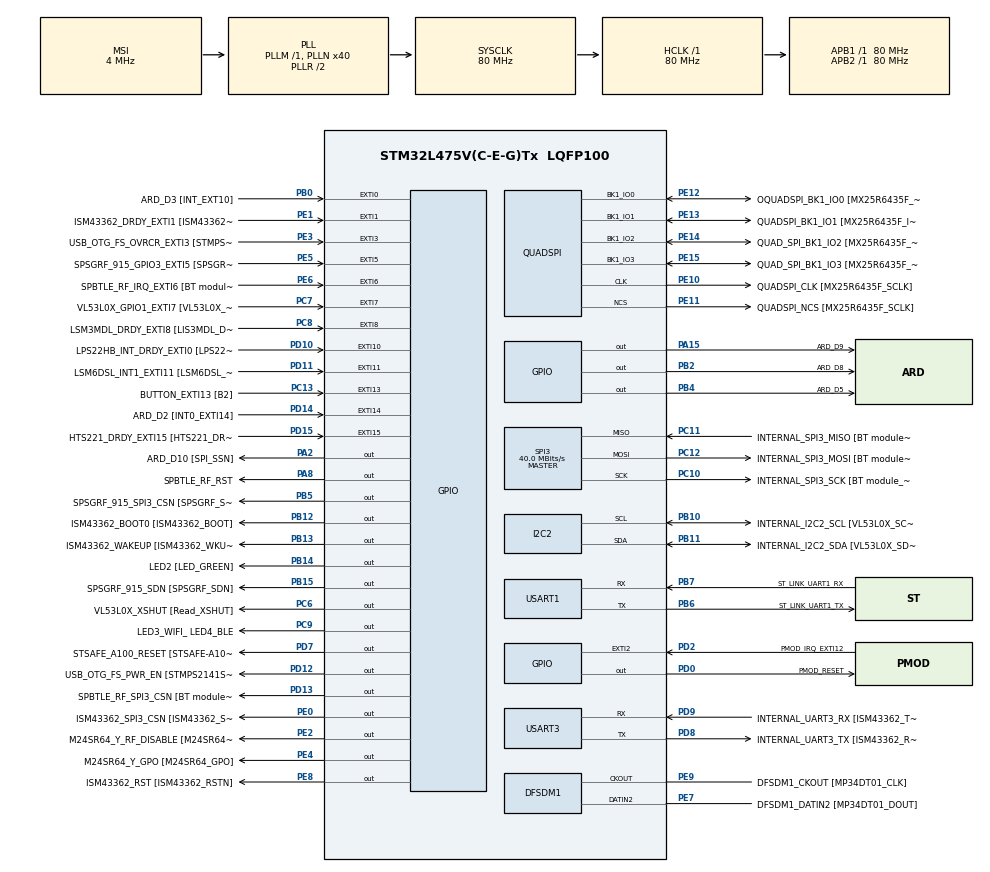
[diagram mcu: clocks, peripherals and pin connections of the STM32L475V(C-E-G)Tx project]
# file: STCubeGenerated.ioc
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Mcu.Family=STM32L4
Mcu.Name=STM32L475V(C-E-G)Tx
Mcu.Package=LQFP100
NVIC.EXTI15_10_IRQn=true\:0\:0\:false\:false\:true\:true\:true\:true
NVIC.EXTI9_5_IRQn=true\:0\:0\:false\:false\:true\:true\:true\:true
NVIC.PriorityGroup=NVIC_PRIORITYGROUP_4
PA0.GPIO_Label=ARD_D1 [UART4_TX]
PA0.Signal=UART4_TX
PA1.GPIO_Label=ARD_D0 [UART4_RX]
PA1.Signal=UART4_RX
PA10.GPIO_Label=USB_OTG_FS_ID
PA10.Signal=USB_OTG_FS_ID
PA11.GPIO_Label=USB_OTG_FS_DM
PA11.Signal=USB_OTG_FS_DM
PA12.GPIO_Label=USB_OTG_FS_DP
PA12.Signal=USB_OTG_FS_DP
PA13\ (JTMS-SWDIO).GPIO_Label=SYS_JTMS_SWDIO
PA13\ (JTMS-SWDIO).Mode=Serial_Wire
PA13\ (JTMS-SWDIO).Signal=SYS_JTMS-SWDIO
PA14\ (JTCK-SWCLK).GPIO_Label=SYS_JTCK_SWCLK
PA14\ (JTCK-SWCLK).Mode=Serial_Wire
PA14\ (JTCK-SWCLK).Signal=SYS_JTCK-SWCLK
PA15\ (JTDI).GPIO_Label=ARD_D9
PA15\ (JTDI).Signal=GPIO_Output
PA2.GPIO_Label=ARD_D10 [SPI_SSN]
PA2.Signal=GPIO_Output
PA3.GPIO_Label=ARD_D4
PA3.Signal=S_TIM2_CH4
PA4.GPIO_Label=ARD_D7
PA4.Signal=ADCx_IN9
PA5.GPIO_Label=ARD_D13 [SPI1_SCK]
PA5.Signal=SPI1_SCK
PA6.GPIO_Label=ARD_D12 [SPI1_MISO]
PA6.Signal=SPI1_MISO
PA7.GPIO_Label=ARD_D11 [SPI1_MOSI]
PA7.Signal=SPI1_MOSI
PA8.GPIO_Label=SPBTLE_RF_RST
PA8.Signal=GPIO_Output
PA9.GPIO_Label=USB_OTG_FS_VBUS [STMPS2141STR_OUT]
PA9.Signal=USB_OTG_FS_VBUS
PB0.GPIO_Label=ARD_D3 [INT_EXT10]
PB0.Signal=GPXTI0
PB1.GPIO_Label=ARD_D6 [ADC1_IN6]
PB1.Signal=ADCx_IN16
PB10.GPIO_Label=INTERNAL_I2C2_SCL [VL53L0X_SCL]
PB10.GPIO_Pu=GPIO_PULLUP
PB10.Mode=I2C
PB10.Signal=I2C2_SCL
PB11.GPIO_Label=INTERNAL_I2C2_SDA [VL53L0X_SDA]
PB11.GPIO_Pu=GPIO_PULLUP
PB11.Mode=I2C
PB11.Signal=I2C2_SDA
PB12.GPIO_Label=ISM43362_BOOT0 [ISM43362_BOOT]
PB12.Signal=GPIO_Output
PB13.GPIO_Label=ISM43362_WAKEUP [ISM43362_WKUP]
PB13.Signal=GPIO_Output
PB14.GPIO_Label=LED2 [LED_GREEN]
PB14.Signal=GPIO_Output
PB15.GPIO_Label=SPSGRF_915_SDN [SPSGRF_SDN]
PB15.Signal=GPIO_Output
PB2.GPIO_Label=ARD_D8
PB2.Signal=GPIO_Output
PB3\ (JTDO-TRACESWO).GPIO_Label=SYS_JTD0_SWO
PB3\ (JTDO-TRACESWO).Signal=SYS_JTDO-SWO
PB4\ (NJTRST).GPIO_Label=ARD_D5
PB4\ (NJTRST).Signal=GPIO_Output
PB5.GPIO_Label=SPSGRF_915_SPI3_CSN [SPSGRF_SPI_CS]
PB5.PinState=GPIO_PIN_SET
PB5.Signal=GPIO_Output
PB6.GPIO_Label=ST_LINK_UART1_TX
PB6.Mode=Asynchronous
PB6.Signal=USART1_TX
PB7.GPIO_Label=ST_LINK_UART1_RX
PB7.Mode=Asynchronous
PB7.Signal=USART1_RX
PB8.GPIO_Label=ARD_D15 [I2C1_SCL]
PB8.Signal=I2C1_SCL
PB9.GPIO_Label=ARD_D14 [I2C1_SDA]
PB9.Signal=I2C1_SDA
PC0.GPIO_Label=ARD_A5 [ADC]
PC0.Signal=ADCx_IN1
PC1.GPIO_Label=ARD_A4 [ADC]
PC1.Signal=ADCx_IN2
PC10.GPIO_Label=INTERNAL_SPI3_SCK [BT module_SPI_SCLK] [ISM43362_SCK]
PC10.Mode=Full_Duplex_Master
PC10.Signal=SPI3_SCK
PC11.GPIO_Label=INTERNAL_SPI3_MISO [BT module_SPI_MISO] [ISM43362_MISO]
PC11.Mode=Full_Duplex_Master
PC11.Signal=SPI3_MISO
PC12.GPIO_Label=INTERNAL_SPI3_MOSI [BT module_SPI_MOSI] [ISM43362_MOSI]
PC12.Mode=Full_Duplex_Master
PC12.Signal=SPI3_MOSI
PC13.GPIO_Label=BUTTON_EXTI13 [B2]
PC13.GPIO_ModeDefaultEXTI=GPIO_MODE_IT_FALLING
PC13.Signal=GPXTI13
PC14-OSC32_IN\ (PC14).Mode=LSE-External-Oscillator
PC14-OSC32_IN\ (PC14).Signal=RCC_OSC32_IN
PC15-OSC32_OUT\ (PC15).Mode=LSE-External-Oscillator
PC15-OSC32_OUT\ (PC15).Signal=RCC_OSC32_OUT
PC2.GPIO_Label=ARD_A3 [ADC]
PC2.Signal=ADCx_IN3
PC3.GPIO_Label=ARD_A2 [ADC]
PC3.Signal=ADCx_IN4
PC4.GPIO_Label=ARD_A1 [ADC]
PC4.Signal=ADCx_IN13
PC5.GPIO_Label=ARD_A0 [ADC]
PC5.Signal=ADCx_IN14
PC6.GPIO_Label=VL53L0X_XSHUT [Read_XSHUT]
PC6.Signal=GPIO_Output
PC7.GPIO_Label=VL53L0X_GPIO1_EXTI7 [VL53L0X_GPIO1]
PC7.Signal=GPXTI7
PC8.GPIO_Label=LSM3MDL_DRDY_EXTI8 [LIS3MDL_DRDY]
PC8.Signal=GPXTI8
PC9.GPIO_Label=LED3_WIFI_ LED4_BLE
PC9.Signal=GPIO_Output
PD0.GPIO_Label=PMOD_RESET
PD0.Signal=GPIO_Output
PD1.GPIO_Label=PMOD_SPI2_SCK
PD1.Signal=SPI2_SCK
PD10.GPIO_Label=LPS22HB_INT_DRDY_EXTI0 [LPS22HB_INT_DRDY] 
PD10.Signal=GPXTI10
PD11.GPIO_Label=LSM6DSL_INT1_EXTI11 [LSM6DSL_INT1]
PD11.Signal=GPXTI11
PD12.GPIO_Label=USB_OTG_FS_PWR_EN [STMPS2141STR_EN]
PD12.Signal=GPIO_Output
PD13.GPIO_Label=SPBTLE_RF_SPI3_CSN [BT module_SPI_CS]
PD13.PinState=GPIO_PIN_SET
PD13.Signal=GPIO_Output
PD14.GPIO_Label=ARD_D2 [INT0_EXTI14]
PD14.Signal=GPXTI14
PD15.GPIO_Label=HTS221_DRDY_EXTI15 [HTS221_DRDY]
PD15.Signal=GPXTI15
PD2.GPIO_Label=PMOD_IRQ_EXTI12
PD2.Signal=GPXTI2
PD3.GPIO_Label=PMOD_UART2_CTS
PD3.Signal=USART2_CTS
PD4.GPIO_Label=PMOD_UART2_RTS
PD4.Signal=USART2_RTS
PD5.GPIO_Label=PMOD_UART2_TX
PD5.Signal=USART2_TX
PD6.GPIO_Label=PMOD_UART2_RX
PD6.Signal=USART2_RX
PD7.GPIO_Label=STSAFE_A100_RESET [STSAFE-A100_RESET]
PD7.Signal=GPIO_Output
PD8.GPIO_Label=INTERNAL_UART3_TX [ISM43362_RX]
PD8.Mode=Asynchronous
PD8.Signal=USART3_TX
PD9.GPIO_Label=INTERNAL_UART3_RX [ISM43362_TX]
PD9.Mode=Asynchronous
PD9.Signal=USART3_RX
PE0.GPIO_Label=ISM43362_SPI3_CSN [ISM43362_SSN]
PE0.PinState=GPIO_PIN_SET
PE0.Signal=GPIO_Output
PE1.GPIO_Label=ISM43362_DRDY_EXTI1 [ISM43362_DATARDY]
PE1.Signal=GPXTI1
PE10.GPIO_Label=QUADSPI_CLK [MX25R6435F_SCLK]
PE10.Mode=Single Bank
PE10.Signal=QUADSPI_CLK
PE11.GPIO_Label=QUADSPI_NCS [MX25R6435F_SCLK]
PE11.Mode=Single Bank
PE11.Signal=QUADSPI_NCS
PE12.GPIO_Label=OQUADSPI_BK1_IO0 [MX25R6435F_IO0]
PE12.Mode=Single Bank
PE12.Signal=QUADSPI_BK1_IO0
PE13.GPIO_Label=QUADSPI_BK1_IO1 [MX25R6435F_IO1]
PE13.Mode=Single Bank
PE13.Signal=QUADSPI_BK1_IO1
PE14.GPIO_Label=QUAD_SPI_BK1_IO2 [MX25R6435F_IO2]
PE14.Mode=Single Bank
PE14.Signal=QUADSPI_BK1_IO2
PE15.GPIO_Label=QUAD_SPI_BK1_IO3 [MX25R6435F_IO3]
PE15.Mode=Single Bank
PE15.Signal=QUADSPI_BK1_IO3
PE2.GPIO_Label=M24SR64_Y_RF_DISABLE [M24SR64_RFDIS]
PE2.Signal=GPIO_Output
PE3.GPIO_Label=USB_OTG_FS_OVRCR_EXTI3 [STMPS2141STR_FAULT]
PE3.Signal=GPXTI3
PE4.GPIO_Label=M24SR64_Y_GPO [M24SR64_GPO]
PE4.Signal=GPIO_Output
PE5.GPIO_Label=SPSGRF_915_GPIO3_EXTI5 [SPSGRF_GPIO_3]
PE5.Signal=GPXTI5
PE6.GPIO_Label=SPBTLE_RF_IRQ_EXTI6 [BT module_SPI_IRQ]
PE6.Signal=GPXTI6
PE7.GPIO_Label=DFSDM1_DATIN2 [MP34DT01_DOUT]
PE7.Signal=S_DATAIN2DFSDM1
PE8.GPIO_Label=ISM43362_RST [ISM43362_RSTN]
PE8.Signal=GPIO_Output
PE9.GPIO_Label=DFSDM1_CKOUT [MP34DT01_CLK]
PE9.Signal=S_CKOUTDFSDM1
ProjectManager.HeapSize=0x200
ProjectManager.StackSize=0x400
ProjectManager.TargetToolchain=MDK-ARM V5
QUADSPI.ClockPrescaler=2
QUADSPI.FifoThreshold=4
QUADSPI.FlashSize=23
QUADSPI.SampleShifting=QSPI_SAMPLE_SHIFTING_HALFCYCLE
RCC.ADCFreq_Value=48000000
RCC.AHBFreq_Value=80000000
RCC.APB1Freq_Value=80000000
RCC.APB1TimFreq_Value=80000000
RCC.APB2Freq_Value=80000000
RCC.APB2TimFreq_Value=80000000
RCC.CortexFreq_Value=80000000
RCC.HCLKFreq_Value=80000000
RCC.HSE_VALUE=8000000
RCC.HSI_VALUE=16000000
RCC.MSI_VALUE=4000000
RCC.PLLN=40
RCC.PLLSAI1N=24
RCC.SYSCLKFreq_VALUE=80000000
RCC.SYSCLKSource=RCC_SYSCLKSOURCE_PLLCLK
RCC.USBFreq_Value=48000000
RCC.VCOOutputFreq_Value=160000000
SH.ADCx_IN1.0=ADC1_IN1
SH.ADCx_IN13.0=ADC1_IN13
SH.ADCx_IN14.0=ADC1_IN14
SH.ADCx_IN16.0=ADC1_IN16
SH.ADCx_IN2.0=ADC1_IN2
SH.ADCx_IN3.0=ADC1_IN3
SH.ADCx_IN4.0=ADC1_IN4
SH.ADCx_IN9.0=ADC1_IN9
SH.S_CKOUTDFSDM1.0=DFSDM1_CKOUT,CKOUT
SH.S_CKOUTDFSDM1.1=DFSDM1_CKOUT,PDM_SPI_Input_from_ch12_and_Internal_Clock
SH.S_DATAIN2DFSDM1.0=DFSDM1_DATIN2,PDM_SPI_Input_from_ch12_and_Internal_Clock
SH.S_TIM2_CH4.0=TIM2_CH4
SPI3.CalculateBaudRate=40.0 MBits/s
SPI3.Direction=SPI_DIRECTION_2LINES
SPI3.Mode=SPI_MODE_MASTER
SPI3.VirtualType=VM_MASTER
USART1.VirtualMode-Asynchronous=VM_ASYNC
USART3.VirtualMode-Asynchronous=VM_ASYNC
board=B-L475E-IOT01A2

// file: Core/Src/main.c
/* USER CODE BEGIN Header */
/**
  ******************************************************************************
  * @file           : main.c
  * @brief          : Main program body
  ******************************************************************************
  * @attention
  *
  * Copyright (c) 2024 STMicroelectronics.
  * All rights reserved.
  *
  * This software is licensed under terms that can be found in the LICENSE file
  * in the root directory of this software component.
  * If no LICENSE file comes with this software, it is provided AS-IS.
  *
  ******************************************************************************
  */
/* USER CODE END Header */
#include "main.h"

/* USER CODE BEGIN Includes */
#include "cmsis_os2.h"
#include "RTE_Components.h"
#include "cmsis_vio.h"
/* USER CODE END Includes */

static void SystemClock_Config(void);
static void MX_GPIO_Init(void);
static void MX_DFSDM1_Init(void);
static void MX_I2C2_Init(void);
static void MX_QUADSPI_Init(void);
static void MX_SPI3_Init(void);
static void MX_USART1_UART_Init(void);
static void MX_USART3_UART_Init(void);

/* USER CODE BEGIN 0 */

/*---------------------------------------------------------------------------
  thrLED: Thread function for blinking the LED
 *---------------------------------------------------------------------------*/
__NO_RETURN static void thrLED (void *arg) {
  uint32_t active_flag = 0U;

  (void)arg;

  for (;;) {
        // Switch LED0 on
    vioSetSignal(vioLED0, vioLEDon);
        // Delay 500 ms
    osDelay(500U);
        // Switch LED0 off
    vioSetSignal(vioLED0, vioLEDoff);
        // Delay 500 ms
    osDelay(500U);
  }
}

/*---------------------------------------------------------------------------
 * Application initialization
 *---------------------------------------------------------------------------*/
static void app_initialize (void) {
  osThreadId_t tid_thrLED = osThreadNew(thrLED, NULL, NULL);
    if (tid_thrLED == NULL) {
      Error_Handler();
    }
}

/* USER CODE END 0 */

int main(void)
{

  /* MCU Configuration--------------------------------------------------------*/

  /* Reset of all peripherals, Initializes the Flash interface and the Systick. */
  HAL_Init();

  /* Configure the system clock */
  SystemClock_Config();

  /* USER CODE BEGIN SysInit */
  SystemCoreClockUpdate();
  /* USER CODE END SysInit */

  /* Initialize all configured peripherals */
  MX_GPIO_Init();
  MX_DFSDM1_Init();
  MX_I2C2_Init();
  MX_QUADSPI_Init();
  MX_SPI3_Init();
  MX_USART1_UART_Init();
  MX_USART3_UART_Init();
  /* USER CODE BEGIN 2 */
  // Initializes VIO
  vioInit();
  // Initialize CMSIS-RTOS2
  osKernelInitialize();
  // Initialize application
  app_initialize();
  // Start thread execution
  osKernelStart();
  /* USER CODE END 2 */

  /* Infinite loop */
  while (1)
  {

  }
}

void SystemClock_Config(void)
{
  RCC_OscInitTypeDef RCC_OscInitStruct = {0};
  RCC_ClkInitTypeDef RCC_ClkInitStruct = {0};

  /** Configure the main internal regulator output voltage
  */
  if (HAL_PWREx_ControlVoltageScaling(PWR_REGULATOR_VOLTAGE_SCALE1) != HAL_OK)
  {
    Error_Handler();
  }

  /** Configure LSE Drive Capability
  */
  HAL_PWR_EnableBkUpAccess();
  __HAL_RCC_LSEDRIVE_CONFIG(RCC_LSEDRIVE_LOW);

  /** Initializes the RCC Oscillators according to the specified parameters
  * in the RCC_OscInitTypeDef structure.
  */
  RCC_OscInitStruct.OscillatorType = RCC_OSCILLATORTYPE_LSE|RCC_OSCILLATORTYPE_MSI;
  RCC_OscInitStruct.LSEState = RCC_LSE_ON;
  RCC_OscInitStruct.MSIState = RCC_MSI_ON;
  RCC_OscInitStruct.MSICalibrationValue = 0;
  RCC_OscInitStruct.MSIClockRange = RCC_MSIRANGE_6;
  RCC_OscInitStruct.PLL.PLLState = RCC_PLL_ON;
  RCC_OscInitStruct.PLL.PLLSource = RCC_PLLSOURCE_MSI;
  RCC_OscInitStruct.PLL.PLLM = 1;
  RCC_OscInitStruct.PLL.PLLN = 40;
  RCC_OscInitStruct.PLL.PLLP = RCC_PLLP_DIV7;
  RCC_OscInitStruct.PLL.PLLQ = RCC_PLLQ_DIV2;
  RCC_OscInitStruct.PLL.PLLR = RCC_PLLR_DIV2;
  if (HAL_RCC_OscConfig(&RCC_OscInitStruct) != HAL_OK)
  {
    Error_Handler();
  }

  /** Initializes the CPU, AHB and APB buses clocks
  */
  RCC_ClkInitStruct.ClockType = RCC_CLOCKTYPE_HCLK|RCC_CLOCKTYPE_SYSCLK
                              |RCC_CLOCKTYPE_PCLK1|RCC_CLOCKTYPE_PCLK2;
  RCC_ClkInitStruct.SYSCLKSource = RCC_SYSCLKSOURCE_PLLCLK;
  RCC_ClkInitStruct.AHBCLKDivider = RCC_SYSCLK_DIV1;
  RCC_ClkInitStruct.APB1CLKDivider = RCC_HCLK_DIV1;
  RCC_ClkInitStruct.APB2CLKDivider = RCC_HCLK_DIV1;

  if (HAL_RCC_ClockConfig(&RCC_ClkInitStruct, FLASH_LATENCY_4) != HAL_OK)
  {
    Error_Handler();
  }

  /** Enable MSI Auto calibration
  */
  HAL_RCCEx_EnableMSIPLLMode();
}

static void MX_DFSDM1_Init(void)
{

  /* USER CODE BEGIN DFSDM1_Init 1 */
	static DFSDM_Channel_HandleTypeDef hdfsdm1_channel1;
  /* USER CODE END DFSDM1_Init 1 */
  hdfsdm1_channel1.Instance = DFSDM1_Channel1;
  hdfsdm1_channel1.Init.OutputClock.Activation = ENABLE;
  hdfsdm1_channel1.Init.OutputClock.Selection = DFSDM_CHANNEL_OUTPUT_CLOCK_SYSTEM;
  hdfsdm1_channel1.Init.OutputClock.Divider = 2;
  hdfsdm1_channel1.Init.Input.Multiplexer = DFSDM_CHANNEL_EXTERNAL_INPUTS;
  hdfsdm1_channel1.Init.Input.DataPacking = DFSDM_CHANNEL_STANDARD_MODE;
  hdfsdm1_channel1.Init.Input.Pins = DFSDM_CHANNEL_FOLLOWING_CHANNEL_PINS;
  hdfsdm1_channel1.Init.SerialInterface.Type = DFSDM_CHANNEL_SPI_RISING;
  hdfsdm1_channel1.Init.SerialInterface.SpiClock = DFSDM_CHANNEL_SPI_CLOCK_INTERNAL;
  hdfsdm1_channel1.Init.Awd.FilterOrder = DFSDM_CHANNEL_FASTSINC_ORDER;
  hdfsdm1_channel1.Init.Awd.Oversampling = 1;
  hdfsdm1_channel1.Init.Offset = 0;
  hdfsdm1_channel1.Init.RightBitShift = 0x00;
  if (HAL_DFSDM_ChannelInit(&hdfsdm1_channel1) != HAL_OK)
  {
    Error_Handler();
  }

}

static void MX_I2C2_Init(void)
{

  /* USER CODE BEGIN I2C2_Init 1 */
	static I2C_HandleTypeDef hi2c2;
  /* USER CODE END I2C2_Init 1 */

  hi2c2.Instance = I2C2;
  hi2c2.Init.Timing = 0x00000E14;
  hi2c2.Init.OwnAddress1 = 0;
  hi2c2.Init.AddressingMode = I2C_ADDRESSINGMODE_7BIT;
  hi2c2.Init.DualAddressMode = I2C_DUALADDRESS_DISABLE;
  hi2c2.Init.OwnAddress2 = 0;
  hi2c2.Init.OwnAddress2Masks = I2C_OA2_NOMASK;
  hi2c2.Init.GeneralCallMode = I2C_GENERALCALL_DISABLE;
  hi2c2.Init.NoStretchMode = I2C_NOSTRETCH_DISABLE;
  if (HAL_I2C_Init(&hi2c2) != HAL_OK)
  {
    Error_Handler();
  }

  /** Configure Analogue filter
  */
  if (HAL_I2CEx_ConfigAnalogFilter(&hi2c2, I2C_ANALOGFILTER_ENABLE) != HAL_OK)
  {
    Error_Handler();
  }

  /** Configure Digital filter
  */
  if (HAL_I2CEx_ConfigDigitalFilter(&hi2c2, 0) != HAL_OK)
  {
    Error_Handler();
  }

}

static void MX_QUADSPI_Init(void)
{

  /* USER CODE BEGIN QUADSPI_Init 1 */
	static QSPI_HandleTypeDef hqspi;
  /* USER CODE END QUADSPI_Init 1 */
  /* QUADSPI parameter configuration*/

  hqspi.Instance = QUADSPI;
  hqspi.Init.ClockPrescaler = 2;
  hqspi.Init.FifoThreshold = 4;
  hqspi.Init.SampleShifting = QSPI_SAMPLE_SHIFTING_HALFCYCLE;
  hqspi.Init.FlashSize = 23;
  hqspi.Init.ChipSelectHighTime = QSPI_CS_HIGH_TIME_1_CYCLE;
  hqspi.Init.ClockMode = QSPI_CLOCK_MODE_0;
  if (HAL_QSPI_Init(&hqspi) != HAL_OK)
  {
    Error_Handler();
  }

}

static void MX_SPI3_Init(void)
{

  /* USER CODE BEGIN SPI3_Init 1 */
	static SPI_HandleTypeDef hspi3;
  /* USER CODE END SPI3_Init 1 */
  /* SPI3 parameter configuration*/

  hspi3.Instance = SPI3;
  hspi3.Init.Mode = SPI_MODE_MASTER;
  hspi3.Init.Direction = SPI_DIRECTION_2LINES;
  hspi3.Init.DataSize = SPI_DATASIZE_4BIT;
  hspi3.Init.CLKPolarity = SPI_POLARITY_LOW;
  hspi3.Init.CLKPhase = SPI_PHASE_1EDGE;
  hspi3.Init.NSS = SPI_NSS_SOFT;
  hspi3.Init.BaudRatePrescaler = SPI_BAUDRATEPRESCALER_2;
  hspi3.Init.FirstBit = SPI_FIRSTBIT_MSB;
  hspi3.Init.TIMode = SPI_TIMODE_DISABLE;
  hspi3.Init.CRCCalculation = SPI_CRCCALCULATION_DISABLE;
  hspi3.Init.CRCPolynomial = 7;
  hspi3.Init.CRCLength = SPI_CRC_LENGTH_DATASIZE;
  hspi3.Init.NSSPMode = SPI_NSS_PULSE_ENABLE;
  if (HAL_SPI_Init(&hspi3) != HAL_OK)
  {
    Error_Handler();
  }

}

static void MX_USART1_UART_Init(void)
{

  /* USER CODE BEGIN USART1_Init 1 */
	static UART_HandleTypeDef huart1;
  /* USER CODE END USART1_Init 1 */

  huart1.Instance = USART1;
  huart1.Init.BaudRate = 115200;
  huart1.Init.WordLength = UART_WORDLENGTH_8B;
  huart1.Init.StopBits = UART_STOPBITS_1;
  huart1.Init.Parity = UART_PARITY_NONE;
  huart1.Init.Mode = UART_MODE_TX_RX;
  huart1.Init.HwFlowCtl = UART_HWCONTROL_NONE;
  huart1.Init.OverSampling = UART_OVERSAMPLING_16;
  huart1.Init.OneBitSampling = UART_ONE_BIT_SAMPLE_DISABLE;
  huart1.AdvancedInit.AdvFeatureInit = UART_ADVFEATURE_NO_INIT;
  if (HAL_UART_Init(&huart1) != HAL_OK)
  {
    Error_Handler();
  }

}

static void MX_USART3_UART_Init(void)
{

  /* USER CODE BEGIN USART3_Init 1 */
	static UART_HandleTypeDef huart3;
  /* USER CODE END USART3_Init 1 */
  huart3.Instance = USART3;
  huart3.Init.BaudRate = 115200;
  huart3.Init.WordLength = UART_WORDLENGTH_8B;
  huart3.Init.StopBits = UART_STOPBITS_1;
  huart3.Init.Parity = UART_PARITY_NONE;
  huart3.Init.Mode = UART_MODE_TX_RX;
  huart3.Init.HwFlowCtl = UART_HWCONTROL_NONE;
  huart3.Init.OverSampling = UART_OVERSAMPLING_16;
  huart3.Init.OneBitSampling = UART_ONE_BIT_SAMPLE_DISABLE;
  huart3.AdvancedInit.AdvFeatureInit = UART_ADVFEATURE_NO_INIT;
  if (HAL_UART_Init(&huart3) != HAL_OK)
  {
    Error_Handler();
  }

}

static void MX_GPIO_Init(void)
{
  GPIO_InitTypeDef GPIO_InitStruct = {0};

  /* GPIO Ports Clock Enable */
  __HAL_RCC_GPIOE_CLK_ENABLE();
  __HAL_RCC_GPIOC_CLK_ENABLE();
  __HAL_RCC_GPIOA_CLK_ENABLE();
  __HAL_RCC_GPIOB_CLK_ENABLE();
  __HAL_RCC_GPIOD_CLK_ENABLE();

  /*Configure GPIO pin Output Level */
  HAL_GPIO_WritePin(GPIOE, M24SR64_Y_RF_DISABLE_Pin|M24SR64_Y_GPO_Pin|ISM43362_RST_Pin, GPIO_PIN_RESET);

  /*Configure GPIO pin Output Level */
  HAL_GPIO_WritePin(GPIOA, ARD_D10_Pin|SPBTLE_RF_RST_Pin|ARD_D9_Pin, GPIO_PIN_RESET);

  /*Configure GPIO pin Output Level */
  HAL_GPIO_WritePin(GPIOB, ARD_D8_Pin|ISM43362_BOOT0_Pin|ISM43362_WAKEUP_Pin|LED2_Pin
                          |SPSGRF_915_SDN_Pin|ARD_D5_Pin, GPIO_PIN_RESET);

  /*Configure GPIO pin Output Level */
  HAL_GPIO_WritePin(GPIOD, USB_OTG_FS_PWR_EN_Pin|PMOD_RESET_Pin|STSAFE_A100_RESET_Pin, GPIO_PIN_RESET);

  /*Configure GPIO pin Output Level */
  HAL_GPIO_WritePin(SPBTLE_RF_SPI3_CSN_GPIO_Port, SPBTLE_RF_SPI3_CSN_Pin, GPIO_PIN_SET);

  /*Configure GPIO pin Output Level */
  HAL_GPIO_WritePin(GPIOC, VL53L0X_XSHUT_Pin|LED3_WIFI__LED4_BLE_Pin, GPIO_PIN_RESET);

  /*Configure GPIO pin Output Level */
  HAL_GPIO_WritePin(SPSGRF_915_SPI3_CSN_GPIO_Port, SPSGRF_915_SPI3_CSN_Pin, GPIO_PIN_SET);

  /*Configure GPIO pin Output Level */
  HAL_GPIO_WritePin(ISM43362_SPI3_CSN_GPIO_Port, ISM43362_SPI3_CSN_Pin, GPIO_PIN_SET);

  /*Configure GPIO pins : M24SR64_Y_RF_DISABLE_Pin M24SR64_Y_GPO_Pin ISM43362_RST_Pin ISM43362_SPI3_CSN_Pin */
  GPIO_InitStruct.Pin = M24SR64_Y_RF_DISABLE_Pin|M24SR64_Y_GPO_Pin|ISM43362_RST_Pin|ISM43362_SPI3_CSN_Pin;
  GPIO_InitStruct.Mode = GPIO_MODE_OUTPUT_PP;
  GPIO_InitStruct.Pull = GPIO_NOPULL;
  GPIO_InitStruct.Speed = GPIO_SPEED_FREQ_LOW;
  HAL_GPIO_Init(GPIOE, &GPIO_InitStruct);

  /*Configure GPIO pins : USB_OTG_FS_OVRCR_EXTI3_Pin SPSGRF_915_GPIO3_EXTI5_Pin SPBTLE_RF_IRQ_EXTI6_Pin ISM43362_DRDY_EXTI1_Pin */
  GPIO_InitStruct.Pin = USB_OTG_FS_OVRCR_EXTI3_Pin|SPSGRF_915_GPIO3_EXTI5_Pin|SPBTLE_RF_IRQ_EXTI6_Pin|ISM43362_DRDY_EXTI1_Pin;
  GPIO_InitStruct.Mode = GPIO_MODE_IT_RISING;
  GPIO_InitStruct.Pull = GPIO_NOPULL;
  HAL_GPIO_Init(GPIOE, &GPIO_InitStruct);

  /*Configure GPIO pin : BUTTON_EXTI13_Pin */
  GPIO_InitStruct.Pin = BUTTON_EXTI13_Pin;
  GPIO_InitStruct.Mode = GPIO_MODE_IT_FALLING;
  GPIO_InitStruct.Pull = GPIO_NOPULL;
  HAL_GPIO_Init(BUTTON_EXTI13_GPIO_Port, &GPIO_InitStruct);

  /*Configure GPIO pins : ARD_A5_Pin ARD_A4_Pin ARD_A3_Pin ARD_A2_Pin
                           ARD_A1_Pin ARD_A0_Pin */
  GPIO_InitStruct.Pin = ARD_A5_Pin|ARD_A4_Pin|ARD_A3_Pin|ARD_A2_Pin
                          |ARD_A1_Pin|ARD_A0_Pin;
  GPIO_InitStruct.Mode = GPIO_MODE_ANALOG_ADC_CONTROL;
  GPIO_InitStruct.Pull = GPIO_NOPULL;
  HAL_GPIO_Init(GPIOC, &GPIO_InitStruct);

  /*Configure GPIO pins : ARD_D1_Pin ARD_D0_Pin */
  GPIO_InitStruct.Pin = ARD_D1_Pin|ARD_D0_Pin;
  GPIO_InitStruct.Mode = GPIO_MODE_AF_PP;
  GPIO_InitStruct.Pull = GPIO_NOPULL;
  GPIO_InitStruct.Speed = GPIO_SPEED_FREQ_VERY_HIGH;
  GPIO_InitStruct.Alternate = GPIO_AF8_UART4;
  HAL_GPIO_Init(GPIOA, &GPIO_InitStruct);

  /*Configure GPIO pins : ARD_D10_Pin SPBTLE_RF_RST_Pin ARD_D9_Pin */
  GPIO_InitStruct.Pin = ARD_D10_Pin|SPBTLE_RF_RST_Pin|ARD_D9_Pin;
  GPIO_InitStruct.Mode = GPIO_MODE_OUTPUT_PP;
  GPIO_InitStruct.Pull = GPIO_NOPULL;
  GPIO_InitStruct.Speed = GPIO_SPEED_FREQ_LOW;
  HAL_GPIO_Init(GPIOA, &GPIO_InitStruct);

  /*Configure GPIO pin : ARD_D4_Pin */
  GPIO_InitStruct.Pin = ARD_D4_Pin;
  GPIO_InitStruct.Mode = GPIO_MODE_AF_PP;
  GPIO_InitStruct.Pull = GPIO_NOPULL;
  GPIO_InitStruct.Speed = GPIO_SPEED_FREQ_LOW;
  GPIO_InitStruct.Alternate = GPIO_AF1_TIM2;
  HAL_GPIO_Init(ARD_D4_GPIO_Port, &GPIO_InitStruct);

  /*Configure GPIO pin : ARD_D7_Pin */
  GPIO_InitStruct.Pin = ARD_D7_Pin;
  GPIO_InitStruct.Mode = GPIO_MODE_ANALOG_ADC_CONTROL;
  GPIO_InitStruct.Pull = GPIO_NOPULL;
  HAL_GPIO_Init(ARD_D7_GPIO_Port, &GPIO_InitStruct);

  /*Configure GPIO pins : ARD_D13_Pin ARD_D12_Pin ARD_D11_Pin */
  GPIO_InitStruct.Pin = ARD_D13_Pin|ARD_D12_Pin|ARD_D11_Pin;
  GPIO_InitStruct.Mode = GPIO_MODE_AF_PP;
  GPIO_InitStruct.Pull = GPIO_NOPULL;
  GPIO_InitStruct.Speed = GPIO_SPEED_FREQ_VERY_HIGH;
  GPIO_InitStruct.Alternate = GPIO_AF5_SPI1;
  HAL_GPIO_Init(GPIOA, &GPIO_InitStruct);

  /*Configure GPIO pin : ARD_D3_Pin */
  GPIO_InitStruct.Pin = ARD_D3_Pin;
  GPIO_InitStruct.Mode = GPIO_MODE_IT_RISING;
  GPIO_InitStruct.Pull = GPIO_NOPULL;
  HAL_GPIO_Init(ARD_D3_GPIO_Port, &GPIO_InitStruct);

  /*Configure GPIO pin : ARD_D6_Pin */
  GPIO_InitStruct.Pin = ARD_D6_Pin;
  GPIO_InitStruct.Mode = GPIO_MODE_ANALOG_ADC_CONTROL;
  GPIO_InitStruct.Pull = GPIO_NOPULL;
  HAL_GPIO_Init(ARD_D6_GPIO_Port, &GPIO_InitStruct);

  /*Configure GPIO pins : ARD_D8_Pin ISM43362_BOOT0_Pin ISM43362_WAKEUP_Pin LED2_Pin
                           SPSGRF_915_SDN_Pin ARD_D5_Pin SPSGRF_915_SPI3_CSN_Pin */
  GPIO_InitStruct.Pin = ARD_D8_Pin|ISM43362_BOOT0_Pin|ISM43362_WAKEUP_Pin|LED2_Pin
                          |SPSGRF_915_SDN_Pin|ARD_D5_Pin|SPSGRF_915_SPI3_CSN_Pin;
  GPIO_InitStruct.Mode = GPIO_MODE_OUTPUT_PP;
  GPIO_InitStruct.Pull = GPIO_NOPULL;
  GPIO_InitStruct.Speed = GPIO_SPEED_FREQ_LOW;
  HAL_GPIO_Init(GPIOB, &GPIO_InitStruct);

  /*Configure GPIO pins : LPS22HB_INT_DRDY_EXTI0_Pin LSM6DSL_INT1_EXTI11_Pin ARD_D2_Pin HTS221_DRDY_EXTI15_Pin
                           PMOD_IRQ_EXTI12_Pin */
  GPIO_InitStruct.Pin = LPS22HB_INT_DRDY_EXTI0_Pin|LSM6DSL_INT1_EXTI11_Pin|ARD_D2_Pin|HTS221_DRDY_EXTI15_Pin
                          |PMOD_IRQ_EXTI12_Pin;
  GPIO_InitStruct.Mode = GPIO_MODE_IT_RISING;
  GPIO_InitStruct.Pull = GPIO_NOPULL;
  HAL_GPIO_Init(GPIOD, &GPIO_InitStruct);

  /*Configure GPIO pins : USB_OTG_FS_PWR_EN_Pin SPBTLE_RF_SPI3_CSN_Pin PMOD_RESET_Pin STSAFE_A100_RESET_Pin */
  GPIO_InitStruct.Pin = USB_OTG_FS_PWR_EN_Pin|SPBTLE_RF_SPI3_CSN_Pin|PMOD_RESET_Pin|STSAFE_A100_RESET_Pin;
  GPIO_InitStruct.Mode = GPIO_MODE_OUTPUT_PP;
  GPIO_InitStruct.Pull = GPIO_NOPULL;
  GPIO_InitStruct.Speed = GPIO_SPEED_FREQ_LOW;
  HAL_GPIO_Init(GPIOD, &GPIO_InitStruct);

  /*Configure GPIO pins : VL53L0X_XSHUT_Pin LED3_WIFI__LED4_BLE_Pin */
  GPIO_InitStruct.Pin = VL53L0X_XSHUT_Pin|LED3_WIFI__LED4_BLE_Pin;
  GPIO_InitStruct.Mode = GPIO_MODE_OUTPUT_PP;
  GPIO_InitStruct.Pull = GPIO_NOPULL;
  GPIO_InitStruct.Speed = GPIO_SPEED_FREQ_LOW;
  HAL_GPIO_Init(GPIOC, &GPIO_InitStruct);

  /*Configure GPIO pins : VL53L0X_GPIO1_EXTI7_Pin LSM3MDL_DRDY_EXTI8_Pin */
  GPIO_InitStruct.Pin = VL53L0X_GPIO1_EXTI7_Pin|LSM3MDL_DRDY_EXTI8_Pin;
  GPIO_InitStruct.Mode = GPIO_MODE_IT_RISING;
  GPIO_InitStruct.Pull = GPIO_NOPULL;
  HAL_GPIO_Init(GPIOC, &GPIO_InitStruct);

  /*Configure GPIO pin : USB_OTG_FS_VBUS_Pin */
  GPIO_InitStruct.Pin = USB_OTG_FS_VBUS_Pin;
  GPIO_InitStruct.Mode = GPIO_MODE_INPUT;
  GPIO_InitStruct.Pull = GPIO_NOPULL;
  HAL_GPIO_Init(USB_OTG_FS_VBUS_GPIO_Port, &GPIO_InitStruct);

  /*Configure GPIO pins : USB_OTG_FS_ID_Pin USB_OTG_FS_DM_Pin USB_OTG_FS_DP_Pin */
  GPIO_InitStruct.Pin = USB_OTG_FS_ID_Pin|USB_OTG_FS_DM_Pin|USB_OTG_FS_DP_Pin;
  GPIO_InitStruct.Mode = GPIO_MODE_AF_PP;
  GPIO_InitStruct.Pull = GPIO_NOPULL;
  GPIO_InitStruct.Speed = GPIO_SPEED_FREQ_VERY_HIGH;
  GPIO_InitStruct.Alternate = GPIO_AF10_OTG_FS;
  HAL_GPIO_Init(GPIOA, &GPIO_InitStruct);

  /*Configure GPIO pin : PMOD_SPI2_SCK_Pin */
  GPIO_InitStruct.Pin = PMOD_SPI2_SCK_Pin;
  GPIO_InitStruct.Mode = GPIO_MODE_AF_PP;
  GPIO_InitStruct.Pull = GPIO_NOPULL;
  GPIO_InitStruct.Speed = GPIO_SPEED_FREQ_VERY_HIGH;
  GPIO_InitStruct.Alternate = GPIO_AF5_SPI2;
  HAL_GPIO_Init(PMOD_SPI2_SCK_GPIO_Port, &GPIO_InitStruct);

  /*Configure GPIO pins : PMOD_UART2_CTS_Pin PMOD_UART2_RTS_Pin PMOD_UART2_TX_Pin PMOD_UART2_RX_Pin */
  GPIO_InitStruct.Pin = PMOD_UART2_CTS_Pin|PMOD_UART2_RTS_Pin|PMOD_UART2_TX_Pin|PMOD_UART2_RX_Pin;
  GPIO_InitStruct.Mode = GPIO_MODE_AF_PP;
  GPIO_InitStruct.Pull = GPIO_NOPULL;
  GPIO_InitStruct.Speed = GPIO_SPEED_FREQ_VERY_HIGH;
  GPIO_InitStruct.Alternate = GPIO_AF7_USART2;
  HAL_GPIO_Init(GPIOD, &GPIO_InitStruct);

  /*Configure GPIO pins : ARD_D15_Pin ARD_D14_Pin */
  GPIO_InitStruct.Pin = ARD_D15_Pin|ARD_D14_Pin;
  GPIO_InitStruct.Mode = GPIO_MODE_AF_OD;
  GPIO_InitStruct.Pull = GPIO_NOPULL;
  GPIO_InitStruct.Speed = GPIO_SPEED_FREQ_VERY_HIGH;
  GPIO_InitStruct.Alternate = GPIO_AF4_I2C1;
  HAL_GPIO_Init(GPIOB, &GPIO_InitStruct);

  /* EXTI interrupt init*/
  HAL_NVIC_SetPriority(EXTI9_5_IRQn, 0, 0);
  HAL_NVIC_EnableIRQ(EXTI9_5_IRQn);

  HAL_NVIC_SetPriority(EXTI15_10_IRQn, 0, 0);
  HAL_NVIC_EnableIRQ(EXTI15_10_IRQn);

}

void Error_Handler(void)
{
  __disable_irq();
  while (1)
  {
  }
}

#ifdef  USE_FULL_ASSERT
/**
  * @brief  Reports the name of the source file and the source line number
  *         where the assert_param error has occurred.
  * @param  file: pointer to the source file name
  * @param  line: assert_param error line source number
  * @retval None
  */
static void assert_failed(uint8_t *file, uint32_t line)
{
  /* USER CODE BEGIN 6 */
	int len_verif = 0;

	len_verif = printf("Wrong parameters value: file %s on line %d\r\n", file, line);

  /* User can add his own implementation to report the file name and line number,
     ex: printf("Wrong parameters value: file %s on line %d\r\n", file, line) */
  /* USER CODE END 6 */
}
#endif /* USE_FULL_ASSERT */
